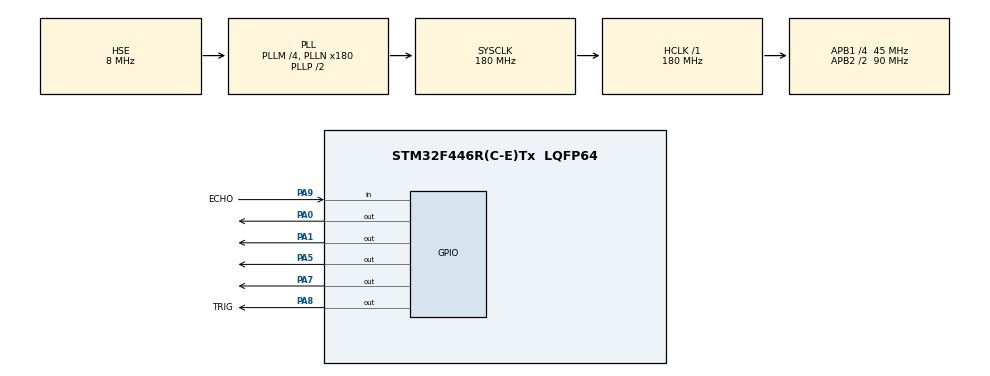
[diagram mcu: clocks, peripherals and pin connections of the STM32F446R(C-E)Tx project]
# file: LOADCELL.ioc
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Mcu.Family=STM32F4
Mcu.Name=STM32F446R(C-E)Tx
Mcu.Package=LQFP64
NVIC.PriorityGroup=NVIC_PRIORITYGROUP_0
PA0-WKUP.Signal=GPIO_Output
PA1.Signal=GPIO_Output
PA13.Mode=Serial_Wire
PA13.Signal=SYS_JTMS-SWDIO
PA14.Mode=Serial_Wire
PA14.Signal=SYS_JTCK-SWCLK
PA5.Signal=GPIO_Output
PA7.Signal=GPIO_Output
PA8.GPIO_Label=TRIG
PA8.Signal=GPIO_Output
PA9.GPIO_Label=ECHO
PA9.Signal=GPIO_Input
PH0-OSC_IN.Mode=HSE-External-Oscillator
PH0-OSC_IN.Signal=RCC_OSC_IN
PH1-OSC_OUT.Mode=HSE-External-Oscillator
PH1-OSC_OUT.Signal=RCC_OSC_OUT
ProjectManager.HeapSize=0x200
ProjectManager.StackSize=0x400
ProjectManager.TargetToolchain=MDK-ARM V5.27
RCC.AHBFreq_Value=180000000
RCC.APB1CLKDivider=RCC_HCLK_DIV4
RCC.APB1Freq_Value=45000000
RCC.APB1TimFreq_Value=90000000
RCC.APB2CLKDivider=RCC_HCLK_DIV2
RCC.APB2Freq_Value=90000000
RCC.APB2TimFreq_Value=180000000
RCC.CortexFreq_Value=180000000
RCC.FLatency-AdvancedSettings=FLASH_LATENCY_5
RCC.HCLKFreq_Value=180000000
RCC.HSE_VALUE=8000000
RCC.HSI_VALUE=16000000
RCC.LSE_VALUE=32768
RCC.PLLM=4
RCC.PLLN=180
RCC.PLLSourceVirtual=RCC_PLLSOURCE_HSE
RCC.SYSCLKFreq_VALUE=180000000
RCC.SYSCLKSource=RCC_SYSCLKSOURCE_PLLCLK
RCC.USBFreq_Value=180000000
RCC.VCOOutputFreq_Value=360000000
TIM4.Period=0
TIM4.Prescaler=180-1
VP_TIM4_VS_ClockSourceINT.Mode=Internal
board=NUCLEO-F446RE

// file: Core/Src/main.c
/* USER CODE BEGIN Header */
/**
  ******************************************************************************
  * @file           : main.c
  * @brief          : Main program body
  ******************************************************************************
  * @attention
  *
  * <h2><center>&copy; Copyright (c) 2021 STMicroelectronics.
  * All rights reserved.</center></h2>
  *
  * This software component is licensed by ST under BSD 3-Clause license,
  * the "License"; You may not use this file except in compliance with the
  * License. You may obtain a copy of the License at:
  *                        opensource.org/licenses/BSD-3-Clause
  *
  ******************************************************************************
  */
/* USER CODE END Header */
#include "main.h"
#include "tim.h"
#include "gpio.h"

/* USER CODE BEGIN Includes */
#include "stdbool.h"
#include "hx711.h"
#include <string.h>
#include <stdio.h>
/* USER CODE END Includes */

/* USER CODE BEGIN PTD */
#define usTIM	TIM4
/* USER CODE END PTD */

/* USER CODE BEGIN PV */
float yuzgramdakazanc = 71.93f;								//	20kg	131.2f			100kg	48
float gram_degisim_ofset = 5;									// 	bu degisken kadar degisim varsa azalma durumunu kontrol eder agirlik sensörü ile alakasi yok
float olculen_agirlik=0;

		float ara_ofset=0;

	float ara_ofset2=0;
	float kalibre_agirligi=25;	// kalibrasyon gram

	HX711 HX711_test;

/* USER CODE END PV */

void SystemClock_Config(void);
/* USER CODE BEGIN PFP */
void Kalibrasyon(){

	HX711_test.offset=ara_ofset;							 			// baslangiç degeri varsa araofset o olsun

		 for (int i = 0; i < 25; i++)								// 25 adet örnek alip ortalamasini aliyoruz
    {
      ara_ofset += HX711_Value(HX711_test);
			HAL_Delay(100);
    }
		HX711_test.offset = ara_ofset / 25;						// artik yeni offset degerini girmis olduk

		ara_ofset = 0 ;															// bu aradegeri tekrar kullanacagiz

		for (int i = 0; i < 25; i++)
    {
      ara_ofset += HX711_Value(HX711_test);
			HAL_Delay(100);
    }

		ara_ofset2 = ara_ofset / 25;

		yuzgramdakazanc = ara_ofset2 / kalibre_agirligi;
}
void usDelay(uint32_t uSec);

/* USER CODE END PFP */

/* USER CODE BEGIN 0 */
//Speed of sound in cm/usec
const float speedOfSound = 0.0343/2;
float distance;
char uartBuf[100];
/* USER CODE END 0 */

int main(void)
{
  /* USER CODE BEGIN 1 */
  uint32_t numTicks = 0;
  /* USER CODE END 1 */

  /* MCU Configuration--------------------------------------------------------*/

  /* Reset of all peripherals, Initializes the Flash interface and the Systick. */
  HAL_Init();

  /* Configure the system clock */
  SystemClock_Config();

  /* USER CODE BEGIN SysInit */
	HX711_test.gain = 128;
	HX711_test.gpioData = GPIOA;
	HX711_test.pinData = GPIO_PIN_5;
	HX711_test.gpioSck = GPIOA;
	HX711_test.pinSck = GPIO_PIN_7;
	HX711_test.offset =209715200;
	//418116832
//	16724430
	//3.3 ile besle ilk gpio init çalissin offset 0 ile basla onun degerini bul

	   HX711_Init(HX711_test);
	// bos agirlikla bu

//		 for (int i = 0; i < 25; i++)
//    {
//      ara_ofset += HX711_Value(HX711_test);
//			HAL_Delay(100);
//    }
//		HX711_test.offset = ara_ofset / 25;

// kalibre agirligi ile bu

		for (int i = 0; i < 25; i++)
    {
      ara_ofset += HX711_Value(HX711_test);
			HAL_Delay(100);
    }

		ara_ofset2 = ara_ofset / 25;

		yuzgramdakazanc = ara_ofset2 / kalibre_agirligi;

     olculen_agirlik=0;

  /* USER CODE END SysInit */

  /* Initialize all configured peripherals */
  MX_GPIO_Init();
  MX_TIM4_Init();

  /* Infinite loop */
  while (1)
  {

    /* USER CODE BEGIN 3 */

	// measuring weight
			olculen_agirlik = HX711_Value(HX711_test)*yuzgramdakazanc;
			HAL_Delay(1000);

		//the lamb part HAL_Delay(500);
			if (olculen_agirlik>=1.5e+15)  //1e-15
		{
			HAL_GPIO_WritePin(GPIOA,GPIO_PIN_1, GPIO_PIN_RESET);
		}
		else
		{
			HAL_GPIO_WritePin(GPIOA,GPIO_PIN_1, GPIO_PIN_SET);
		}
		//ULTRASONIC PART
		//Set TRIG to LOW for few uSec
		HAL_GPIO_WritePin(TRIG_GPIO_Port, TRIG_Pin, GPIO_PIN_RESET);
		usDelay(3);

		//*** START Ultrasonic measure routine ***//
		//1. Output 10 usec TRIG
		HAL_GPIO_WritePin(TRIG_GPIO_Port, TRIG_Pin, GPIO_PIN_SET);
		usDelay(10);
		HAL_GPIO_WritePin(TRIG_GPIO_Port, TRIG_Pin, GPIO_PIN_RESET);

		//2. Wait for ECHO pin rising edge
		while(HAL_GPIO_ReadPin(ECHO_GPIO_Port, ECHO_Pin) == GPIO_PIN_RESET);

		//3. Start measuring ECHO pulse width in usec
		numTicks = 0;
		while(HAL_GPIO_ReadPin(ECHO_GPIO_Port, ECHO_Pin) == GPIO_PIN_SET)
		{
			numTicks++;
			usDelay(2); //2.8usec
		};

		//4. Estimate distance in cm
		distance = (numTicks + 0.0f)*2.8*speedOfSound;
		//the buzzer part
		if (distance<=93.4)
		{
			HAL_GPIO_TogglePin(GPIOA, GPIO_PIN_0);
			HAL_Delay(500);
		}
		else
		{
			HAL_GPIO_WritePin(GPIOA,GPIO_PIN_0, GPIO_PIN_RESET);
		}
  }
  /* USER CODE END 3 */
}

void SystemClock_Config(void)
{
  RCC_OscInitTypeDef RCC_OscInitStruct = {0};
  RCC_ClkInitTypeDef RCC_ClkInitStruct = {0};

  /** Configure the main internal regulator output voltage
  */
  __HAL_RCC_PWR_CLK_ENABLE();
  __HAL_PWR_VOLTAGESCALING_CONFIG(PWR_REGULATOR_VOLTAGE_SCALE1);
  /** Initializes the RCC Oscillators according to the specified parameters
  * in the RCC_OscInitTypeDef structure.
  */
  RCC_OscInitStruct.OscillatorType = RCC_OSCILLATORTYPE_HSE;
  RCC_OscInitStruct.HSEState = RCC_HSE_ON;
  RCC_OscInitStruct.PLL.PLLState = RCC_PLL_ON;
  RCC_OscInitStruct.PLL.PLLSource = RCC_PLLSOURCE_HSE;
  RCC_OscInitStruct.PLL.PLLM = 4;
  RCC_OscInitStruct.PLL.PLLN = 180;
  RCC_OscInitStruct.PLL.PLLP = RCC_PLLP_DIV2;
  RCC_OscInitStruct.PLL.PLLQ = 2;
  RCC_OscInitStruct.PLL.PLLR = 2;
  if (HAL_RCC_OscConfig(&RCC_OscInitStruct) != HAL_OK)
  {
    Error_Handler();
  }
  /** Activate the Over-Drive mode
  */
  if (HAL_PWREx_EnableOverDrive() != HAL_OK)
  {
    Error_Handler();
  }
  /** Initializes the CPU, AHB and APB buses clocks
  */
  RCC_ClkInitStruct.ClockType = RCC_CLOCKTYPE_HCLK|RCC_CLOCKTYPE_SYSCLK
                              |RCC_CLOCKTYPE_PCLK1|RCC_CLOCKTYPE_PCLK2;
  RCC_ClkInitStruct.SYSCLKSource = RCC_SYSCLKSOURCE_PLLCLK;
  RCC_ClkInitStruct.AHBCLKDivider = RCC_SYSCLK_DIV1;
  RCC_ClkInitStruct.APB1CLKDivider = RCC_HCLK_DIV4;
  RCC_ClkInitStruct.APB2CLKDivider = RCC_HCLK_DIV2;

  if (HAL_RCC_ClockConfig(&RCC_ClkInitStruct, FLASH_LATENCY_5) != HAL_OK)
  {
    Error_Handler();
  }
}

/* USER CODE BEGIN 4 */
void usDelay(uint32_t uSec)
{
	if(uSec < 2) uSec = 2;
	usTIM->ARR = uSec - 1; 	/*sets the value in the auto-reload register*/
	usTIM->EGR = 1; 			/*Re-initialises the timer*/
	usTIM->SR &= ~1; 		//Resets the flag
	usTIM->CR1 |= 1; 		//Enables the counter
	while((usTIM->SR&0x0001) != 1);
	usTIM->SR &= ~(0x0001);
}
/* USER CODE END 4 */

void Error_Handler(void)
{
  __disable_irq();
  while (1)
  {
  }
}

/************************ (C) COPYRIGHT STMicroelectronics *****END OF FILE****/
